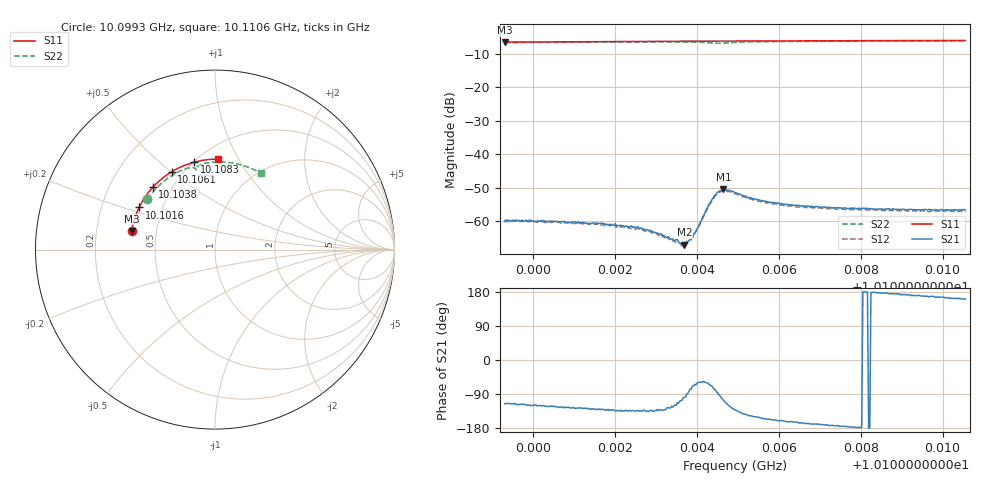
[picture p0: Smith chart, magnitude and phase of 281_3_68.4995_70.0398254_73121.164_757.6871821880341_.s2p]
#  HZ  S  RI  R  50.00
! Rohde & Schwarz Vector Network Analyzer
! Rohde-Schwarz,ZNB20-2Port,1311601062101988,3.16
! Created: UTC 3/20/2024, 5:01:10 PM
! freq[Hz]  re:S11  im:S11  re:S21  im:S21  re:S12  im:S12  re:S22  im:S22
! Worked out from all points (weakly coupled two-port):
!   401 points, 10.0993 GHz to 10.1106 GHz, reference 50 ohm
!   highest |S21| = -50.56 dB at 10.1047 GHz (marker M1); lowest = -67.1 dB at 10.1037 GHz (marker M2)
!   lowest |S11| = -6.4 dB at 10.0993 GHz (marker M3), VSWR 2.82, Z = 17.9 + j4.85 ohm
!   |S11| at or under -10 dB: nowhere
!   |S22| runs from -6.8 to -6.1 dB; largest |S21 - S12| = 0.00031
!   S11 on the Smith chart (normalised r, x): 10.0993 GHz: 0.36, +0.10; 10.1016 GHz: 0.37, +0.23; 10.1038 GHz: 0.39, +0.36; 10.1061 GHz: 0.44, +0.50; 10.1083 GHz: 0.50, +0.66; 10.1106 GHz: 0.61, +0.83
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1.009931e10  -0.4644 0.1044  -0.000436 -0.000908  -0.000331 -0.000926  -0.3763 0.2795
1.010119e10  -0.4321 0.2144  -0.000572 -0.000753  -0.000495 -0.000773  -0.2964 0.3708
1.010156e10  -0.4228 0.2346  -0.000582 -0.000708  -0.000545 -0.000696  -0.2781 0.3861
1.010195e10  -0.4118 0.256  -0.000567 -0.000649  -0.000534 -0.000685  -0.2577 0.4015
1.010251e10  -0.3942 0.2852  -0.00057 -0.000572  -0.000485 -0.000582  -0.2266 0.4214
1.010308e10  -0.3747 0.3132  -0.000423 -0.000491  -0.000374 -0.000474  -0.1932 0.4388
1.010364e10  -0.353 0.3398  -0.000127 -0.000442  -8.68e-05 -0.000411  -0.1567 0.4526
1.01037e10  -0.3507 0.3423  -6.41e-05 -0.000439  -3.77e-05 -0.000432  -0.1527 0.4536
1.010381e10  -0.3462 0.3473  6.14e-05 -0.000507  9.33e-05 -0.000484  -0.1447 0.4555
1.010384e10  -0.345 0.3485  0.000125 -0.000516  0.000161 -0.000491  -0.1426 0.4558
1.010395e10  -0.3403 0.3535  0.000285 -0.000599  0.000307 -0.000575  -0.1342 0.4569
1.010426e10  -0.3272 0.3668  0.00077 -0.00137  0.000838 -0.00127  -0.1115 0.453
1.010443e10  -0.3198 0.374  0.000555 -0.00232  0.000723 -0.00214  -0.1054 0.4459
1.010454e10  -0.3148 0.3783  -6.34e-05 -0.00277  0.000173 -0.00266  -0.1064 0.4437
1.010465e10  -0.3098 0.3831  -0.000816 -0.00285  -0.000522 -0.00279  -0.1081 0.4465
1.010493e10  -0.297 0.3942  -0.00177 -0.00199  -0.00154 -0.00206  -0.0998 0.4619
1.010541e10  -0.274 0.4118  -0.00186 -0.00109  -0.00168 -0.00118  -0.0684 0.4772
1.010606e10  -0.2414 0.4336  -0.00171 -0.000624  -0.00156 -0.000729  -0.0249 0.4859
1.010682e10  -0.2012 0.4556  -0.00162 -0.000311  -0.00152 -0.000475  0.025 0.4886
1.010831e10  -0.1168 0.4871  -0.00152 4.93e-05  -0.00148 -9.86e-05  0.12 0.478
1.01087e10  -0.0936 0.4927  -0.00153 0.000134  -0.00143 -1.75e-05  0.1445 0.4721
1.011056e10  0.018 0.5039  -0.00138 0.000493  -0.00137 0.000293  0.2535 0.4272
